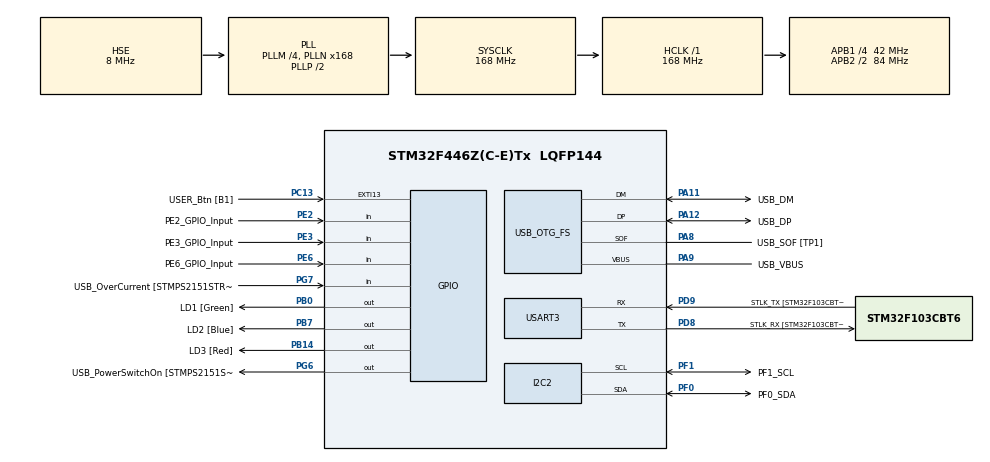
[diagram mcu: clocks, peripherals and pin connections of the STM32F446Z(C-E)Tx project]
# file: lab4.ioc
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Mcu.Family=STM32F4
Mcu.Name=STM32F446Z(C-E)Tx
Mcu.Package=LQFP144
NVIC.PriorityGroup=NVIC_PRIORITYGROUP_4
PA10.GPIO_Label=USB_ID
PA10.Signal=USB_OTG_FS_ID
PA11.GPIO_Label=USB_DM
PA11.Mode=Device_Only
PA11.Signal=USB_OTG_FS_DM
PA12.GPIO_Label=USB_DP
PA12.Mode=Device_Only
PA12.Signal=USB_OTG_FS_DP
PA13.GPIO_Label=TMS
PA13.Mode=Serial_Wire
PA13.Signal=SYS_JTMS-SWDIO
PA14.GPIO_Label=TCK
PA14.Mode=Serial_Wire
PA14.Signal=SYS_JTCK-SWCLK
PA8.GPIO_Label=USB_SOF [TP1]
PA8.Mode=Activate_SOF_FS
PA8.Signal=USB_OTG_FS_SOF
PA9.GPIO_Label=USB_VBUS
PA9.Mode=Activate_VBUS
PA9.Signal=USB_OTG_FS_VBUS
PB0.GPIO_Label=LD1 [Green]
PB0.Signal=GPIO_Output
PB14.GPIO_Label=LD3 [Red]
PB14.Signal=GPIO_Output
PB7.GPIO_Label=LD2 [Blue]
PB7.Signal=GPIO_Output
PC13.GPIO_Label=USER_Btn [B1]
PC13.Signal=GPXTI13
PC14-OSC32_IN.Mode=LSE-External-Oscillator
PC14-OSC32_IN.Signal=RCC_OSC32_IN
PC15-OSC32_OUT.Mode=LSE-External-Oscillator
PC15-OSC32_OUT.Signal=RCC_OSC32_OUT
PD8.GPIO_Label=STLK_RX [STM32F103CBT6_PA3]
PD8.Mode=Asynchronous
PD8.Signal=USART3_TX
PD9.GPIO_Label=STLK_TX [STM32F103CBT6_PA2]
PD9.Mode=Asynchronous
PD9.Signal=USART3_RX
PE2.GPIO_Label=PE2_GPIO_Input
PE2.GPIO_PuPd=GPIO_PULLDOWN
PE2.Signal=GPIO_Input
PE3.GPIO_Label=PE3_GPIO_Input
PE3.GPIO_PuPd=GPIO_PULLDOWN
PE3.Signal=GPIO_Input
PE6.GPIO_Label=PE6_GPIO_Input
PE6.GPIO_PuPd=GPIO_PULLDOWN
PE6.Signal=GPIO_Input
PF0.GPIO_Label=PF0_SDA
PF0.Mode=I2C
PF0.Signal=I2C2_SDA
PF1.GPIO_Label=PF1_SCL
PF1.Mode=I2C
PF1.Signal=I2C2_SCL
PG6.GPIO_Label=USB_PowerSwitchOn [STMPS2151STR_EN]
PG6.Signal=GPIO_Output
PG7.GPIO_Label=USB_OverCurrent [STMPS2151STR_FAULT]
PG7.Signal=GPIO_Input
PH0-OSC_IN.GPIO_Label=MCO [STM32F103CBT6_PA8]
PH0-OSC_IN.Mode=HSE-External-Clock-Source
PH0-OSC_IN.Signal=RCC_OSC_IN
PH1-OSC_OUT.Mode=HSE-External-Clock-Source
PH1-OSC_OUT.Signal=RCC_OSC_OUT
ProjectManager.HeapSize=0x200
ProjectManager.StackSize=0x400
ProjectManager.TargetToolchain=STM32CubeIDE
RCC.48MHZClocksFreq_Value=24000000
RCC.AHBFreq_Value=168000000
RCC.APB1CLKDivider=RCC_HCLK_DIV4
RCC.APB1Freq_Value=42000000
RCC.APB1TimFreq_Value=84000000
RCC.APB2CLKDivider=RCC_HCLK_DIV2
RCC.APB2Freq_Value=84000000
RCC.APB2TimFreq_Value=168000000
RCC.CortexFreq_Value=168000000
RCC.HCLKFreq_Value=168000000
RCC.HSE_VALUE=8000000
RCC.HSI_VALUE=16000000
RCC.PLLM=4
RCC.PLLMUL=RCC_PLL_MUL9
RCC.PLLN=168
RCC.PLLQ=7
RCC.PRESCALERUSB=RCC_USBCLKSOURCE_PLL_DIV1_5
RCC.SYSCLKFreq_VALUE=168000000
RCC.SYSCLKSource=RCC_SYSCLKSOURCE_PLLCLK
RCC.SYSCLKSourceVirtual=RCC_SYSCLKSOURCE_PLLCLK
RCC.USBFreq_Value=48000000
RCC.VCOOutputFreq_Value=336000000
USART3.VirtualMode=VM_ASYNC
USB_OTG_FS.VirtualMode=Device_Only
board=NUCLEO-F446ZE

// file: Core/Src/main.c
/* USER CODE BEGIN Header */
/**
  ******************************************************************************
  * @file           : main.c
  * @brief          : OLED egyedi képernyőkép (Név, Kurzus, Keret)
  ******************************************************************************
  */
/* USER CODE END Header */

#include "main.h"

/* USER CODE BEGIN Includes */
#include "OLED.h"
#include "OLED_fonts.h"
#include "OLED_conf.h"
#include "buttons.h"
/* USER CODE END Includes */

I2C_HandleTypeDef hi2c2;
UART_HandleTypeDef huart3;
PCD_HandleTypeDef hpcd_USB_OTG_FS;

/* USER CODE BEGIN PV */
uint8_t elozo_gombok = 0;
/* USER CODE END PV */

void SystemClock_Config(void);
static void MX_GPIO_Init(void);
static void MX_USART3_UART_Init(void);
static void MX_USB_OTG_FS_PCD_Init(void);
static void MX_I2C2_Init(void);

/* USER CODE BEGIN PFP */
void Sajat_Kepernyokep(void);
/* USER CODE END PFP */

/* USER CODE BEGIN 0 */

void Sajat_Kepernyokep(void)
{
    /* Kijelző törlése */
    OLED_Fill(BLACK);

    /* 1. Külső téglalap keret rajzolása */
    OLED_DrawRectangle(2, 2, 125, 61, WHITE);

    /* 2. Díszítő körök a keret négy sarkában */
    OLED_DrawCircle(8, 8, 5, WHITE);     /* Bal felső */
    OLED_DrawCircle(119, 8, 5, WHITE);   /* Jobb felső */
    OLED_DrawCircle(8, 55, 5, WHITE);    /* Bal alsó */
    OLED_DrawCircle(119, 55, 5, WHITE);  /* Jobb alsó */

    /* 3. Név kiírása */
    OLED_SetCursor(16, 20);
    OLED_WriteString("Feher Balazs", Font_7x10, WHITE);

    /* 4. Kurzus kiírása */
    OLED_SetCursor(16, 36);
    OLED_WriteString("Mikrovezerlok", Font_7x10, WHITE);

    /* Kijelző frissítése */
    OLED_UpdateScreen();
}

/* USER CODE END 0 */
//comment
int main(void)
{
  /* MCU Configuration--------------------------------------------------------*/

  /* Reset of all peripherals, Initializes the Flash interface and the Systick. */
  HAL_Init();

  /* Configure the system clock */
  SystemClock_Config();

  /* Initialize all configured peripherals */
  MX_GPIO_Init();
  MX_USART3_UART_Init();
  MX_USB_OTG_FS_PCD_Init();
  MX_I2C2_Init();

  /* USER CODE BEGIN 2 */
  OLED_Init();

  /* Saját képernyőkép megjelenítése indításkor */
  Sajat_Kepernyokep();
  /* USER CODE END 2 */

  /* Infinite loop */
  /* USER CODE BEGIN WHILE */
  while (1)
  {
      uint8_t gombok = 0;

      /* PE2 gomb megnyomására újrarajzolja a képernyőt */
      if (HAL_GPIO_ReadPin(GPIOE, PE2_GPIO_Input_Pin) == GPIO_PIN_SET)
      {
          gombok |= 0x01;

      }

      if (gombok != elozo_gombok)
      {
          if ((gombok & 0x01) && !(elozo_gombok & 0x01))
          {
              Sajat_Kepernyokep();
          }

          elozo_gombok = gombok;
          HAL_Delay(30);
      }

      HAL_Delay(10);
      /* USER CODE END WHILE */

  }
}

void SystemClock_Config(void)
{
  RCC_OscInitTypeDef RCC_OscInitStruct = {0};
  RCC_ClkInitTypeDef RCC_ClkInitStruct = {0};

  __HAL_RCC_PWR_CLK_ENABLE();
  __HAL_PWR_VOLTAGESCALING_CONFIG(PWR_REGULATOR_VOLTAGE_SCALE1);

  RCC_OscInitStruct.OscillatorType = RCC_OSCILLATORTYPE_HSE;
  RCC_OscInitStruct.HSEState = RCC_HSE_BYPASS;
  RCC_OscInitStruct.PLL.PLLState = RCC_PLL_ON;
  RCC_OscInitStruct.PLL.PLLSource = RCC_PLLSOURCE_HSE;
  RCC_OscInitStruct.PLL.PLLM = 4;
  RCC_OscInitStruct.PLL.PLLN = 168;
  RCC_OscInitStruct.PLL.PLLP = RCC_PLLP_DIV2;
  RCC_OscInitStruct.PLL.PLLQ = 7;
  RCC_OscInitStruct.PLL.PLLR = 2;
  if (HAL_RCC_OscConfig(&RCC_OscInitStruct) != HAL_OK)
  {
    Error_Handler();
  }

  RCC_ClkInitStruct.ClockType = RCC_CLOCKTYPE_HCLK|RCC_CLOCKTYPE_SYSCLK
                              |RCC_CLOCKTYPE_PCLK1|RCC_CLOCKTYPE_PCLK2;
  RCC_ClkInitStruct.SYSCLKSource = RCC_SYSCLKSOURCE_PLLCLK;
  RCC_ClkInitStruct.AHBCLKDivider = RCC_SYSCLK_DIV1;
  RCC_ClkInitStruct.APB1CLKDivider = RCC_HCLK_DIV4;
  RCC_ClkInitStruct.APB2CLKDivider = RCC_HCLK_DIV2;

  if (HAL_RCC_ClockConfig(&RCC_ClkInitStruct, FLASH_LATENCY_5) != HAL_OK)
  {
    Error_Handler();
  }
}

static void MX_I2C2_Init(void)
{
  hi2c2.Instance = I2C2;
  hi2c2.Init.ClockSpeed = 100000;
  hi2c2.Init.DutyCycle = I2C_DUTYCYCLE_2;
  hi2c2.Init.OwnAddress1 = 0;
  hi2c2.Init.AddressingMode = I2C_ADDRESSINGMODE_7BIT;
  hi2c2.Init.DualAddressMode = I2C_DUALADDRESS_DISABLE;
  hi2c2.Init.OwnAddress2 = 0;
  hi2c2.Init.GeneralCallMode = I2C_GENERALCALL_DISABLE;
  hi2c2.Init.NoStretchMode = I2C_NOSTRETCH_DISABLE;
  if (HAL_I2C_Init(&hi2c2) != HAL_OK)
  {
    Error_Handler();
  }
}

static void MX_USART3_UART_Init(void)
{
  huart3.Instance = USART3;
  huart3.Init.BaudRate = 115200;
  huart3.Init.WordLength = UART_WORDLENGTH_8B;
  huart3.Init.StopBits = UART_STOPBITS_1;
  huart3.Init.Parity = UART_PARITY_NONE;
  huart3.Init.Mode = UART_MODE_TX_RX;
  huart3.Init.HwFlowCtl = UART_HWCONTROL_NONE;
  huart3.Init.OverSampling = UART_OVERSAMPLING_16;
  if (HAL_UART_Init(&huart3) != HAL_OK)
  {
    Error_Handler();
  }
}

static void MX_USB_OTG_FS_PCD_Init(void)
{
  hpcd_USB_OTG_FS.Instance = USB_OTG_FS;
  hpcd_USB_OTG_FS.Init.dev_endpoints = 6;
  hpcd_USB_OTG_FS.Init.speed = PCD_SPEED_FULL;
  hpcd_USB_OTG_FS.Init.dma_enable = DISABLE;
  hpcd_USB_OTG_FS.Init.phy_itface = PCD_PHY_EMBEDDED;
  hpcd_USB_OTG_FS.Init.Sof_enable = ENABLE;
  hpcd_USB_OTG_FS.Init.low_power_enable = DISABLE;
  hpcd_USB_OTG_FS.Init.lpm_enable = DISABLE;
  hpcd_USB_OTG_FS.Init.vbus_sensing_enable = ENABLE;
  hpcd_USB_OTG_FS.Init.use_dedicated_ep1 = DISABLE;
  if (HAL_PCD_Init(&hpcd_USB_OTG_FS) != HAL_OK)
  {
    Error_Handler();
  }
}

static void MX_GPIO_Init(void)
{
  GPIO_InitTypeDef GPIO_InitStruct = {0};

  __HAL_RCC_GPIOE_CLK_ENABLE();
  __HAL_RCC_GPIOC_CLK_ENABLE();
  __HAL_RCC_GPIOF_CLK_ENABLE();
  __HAL_RCC_GPIOH_CLK_ENABLE();
  __HAL_RCC_GPIOB_CLK_ENABLE();
  __HAL_RCC_GPIOD_CLK_ENABLE();
  __HAL_RCC_GPIOG_CLK_ENABLE();
  __HAL_RCC_GPIOA_CLK_ENABLE();

  HAL_GPIO_WritePin(GPIOB, LD1_Pin|LD3_Pin|LD2_Pin, GPIO_PIN_RESET);
  HAL_GPIO_WritePin(USB_PowerSwitchOn_GPIO_Port, USB_PowerSwitchOn_Pin, GPIO_PIN_RESET);

  GPIO_InitStruct.Pin = PE2_GPIO_Input_Pin|PE3_GPIO_Input_Pin|PE6_GPIO_Input_Pin;
  GPIO_InitStruct.Mode = GPIO_MODE_INPUT;
  GPIO_InitStruct.Pull = GPIO_PULLDOWN;
  HAL_GPIO_Init(GPIOE, &GPIO_InitStruct);

  GPIO_InitStruct.Pin = USER_Btn_Pin;
  GPIO_InitStruct.Mode = GPIO_MODE_INPUT;
  GPIO_InitStruct.Pull = GPIO_NOPULL;
  HAL_GPIO_Init(USER_Btn_GPIO_Port, &GPIO_InitStruct);

  GPIO_InitStruct.Pin = LD1_Pin|LD3_Pin|LD2_Pin;
  GPIO_InitStruct.Mode = GPIO_MODE_OUTPUT_PP;
  GPIO_InitStruct.Pull = GPIO_NOPULL;
  GPIO_InitStruct.Speed = GPIO_SPEED_FREQ_LOW;
  HAL_GPIO_Init(GPIOB, &GPIO_InitStruct);

  GPIO_InitStruct.Pin = USB_PowerSwitchOn_Pin;
  GPIO_InitStruct.Mode = GPIO_MODE_OUTPUT_PP;
  GPIO_InitStruct.Pull = GPIO_NOPULL;
  GPIO_InitStruct.Speed = GPIO_SPEED_FREQ_LOW;
  HAL_GPIO_Init(USB_PowerSwitchOn_GPIO_Port, &GPIO_InitStruct);

  GPIO_InitStruct.Pin = USB_OverCurrent_Pin;
  GPIO_InitStruct.Mode = GPIO_MODE_INPUT;
  GPIO_InitStruct.Pull = GPIO_NOPULL;
  HAL_GPIO_Init(USB_OverCurrent_GPIO_Port, &GPIO_InitStruct);
}

void Error_Handler(void)
{
  __disable_irq();
  while (1)
  {
  }
}
